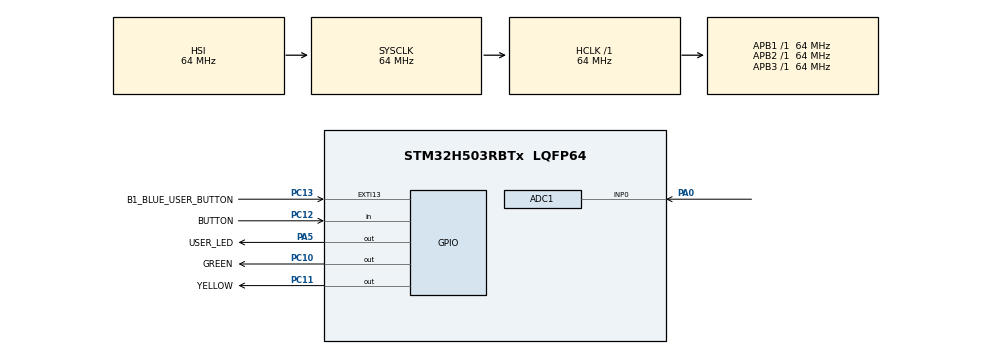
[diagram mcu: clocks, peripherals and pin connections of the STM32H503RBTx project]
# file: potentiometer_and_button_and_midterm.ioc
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ADC1.Channel-0\#ChannelRegularConversion=ADC_CHANNEL_0
ADC1.MonitoredBy-0\#ChannelRegularConversion=__NULL
ADC1.NbrOfConversionFlag=1
ADC1.OffsetNumber-0\#ChannelRegularConversion=ADC_OFFSET_NONE
ADC1.Rank-0\#ChannelRegularConversion=1
ADC1.SamplingTime-0\#ChannelRegularConversion=ADC_SAMPLETIME_2CYCLES_5
ADC1.master=1
BOOTPATH.BootPathName=LEGACY
BOOTPATH.UserSelectedBootPath=LEGACY
Mcu.Family=STM32H5
Mcu.Name=STM32H503RBTx
Mcu.Package=LQFP64
NVIC.PriorityGroup=NVIC_PRIORITYGROUP_4
PA0.Signal=ADCx_INP0
PA3.GPIO_Label=T_VCP_RX
PA3.Signal=USART3_RX
PA4.GPIO_Label=T_VCP_TX
PA4.Signal=USART3_TX
PA5.GPIO_Label=USER_LED
PA5.Signal=GPIO_Output
PC10.GPIO_Label=GREEN
PC10.Signal=GPIO_Output
PC11.GPIO_Label=YELLOW
PC11.Signal=GPIO_Output
PC12.GPIO_Label=BUTTON
PC12.Signal=GPIO_Input
PC13.GPIO_Label=B1_BLUE_USER_BUTTON
PC13.Signal=GPXTI13
ProjectManager.HeapSize=0x200
ProjectManager.StackSize=0x400
ProjectManager.TargetToolchain=STM32CubeIDE
RCC.ADCFreq_Value=64000000
RCC.AHBFreq_Value=64000000
RCC.APB1Freq_Value=64000000
RCC.APB1TimFreq_Value=64000000
RCC.APB2Freq_Value=64000000
RCC.APB2TimFreq_Value=64000000
RCC.APB3Freq_Value=64000000
RCC.CSI_VALUE=4000000
RCC.CortexFreq_Value=64000000
RCC.EPOD_VALUE=4000000
RCC.HCLKFreq_Value=64000000
RCC.HSE_VALUE=24000000
RCC.HSI48_VALUE=48000000
RCC.HSIDiv=RCC_HSI_DIV1
RCC.HSI_VALUE=64000000
RCC.LSE_VALUE=32768
RCC.LSIRC_VALUE=32000
RCC.PLLN=32
RCC.SYSCLKFreq_VALUE=64000000
RCC.USBFreq_Value=48000000
RCC.VCOOutputFreq_Value=128000000
SH.ADCx_INP0.0=ADC1_INP0,IN0-Single-Ended
VP_BOOTPATH_VS_BOOTPATH.Mode=BP_Activate
VP_CORTEX_M33_NS_VS_Hclk.Mode=Hclk_Mode
VP_MEMORYMAP_VS_MEMORYMAP.Mode=CurAppReg
VP_PWR_VS_DBSignals.Mode=DisableDeadBatterySignals
VP_PWR_VS_LPOM.Mode=PowerOptimisation
VP_PWR_VS_SECSignals.Mode=Security/Privilege
board=NUCLEO-H503RB

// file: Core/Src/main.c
/* USER CODE BEGIN Header */
/**
  ******************************************************************************
  * @file           : main.c
  * @brief          : Main program body
  ******************************************************************************
  * @attention
  *
  * Copyright (c) 2026 STMicroelectronics.
  * All rights reserved.
  *
  * This software is licensed under terms that can be found in the LICENSE file
  * in the root directory of this software component.
  * If no LICENSE file comes with this software, it is provided AS-IS.
  *
  ******************************************************************************
  */
/* USER CODE END Header */
#include "main.h"

ADC_HandleTypeDef hadc1;

/* USER CODE BEGIN PV */
uint16_t pot = 0;
uint8_t state = 0;
uint8_t prev_butt = GPIO_PIN_SET;
uint32_t green_tick = 0;
uint32_t green_int = 0;
uint32_t green_off = 500;
uint8_t green_state = 0;

/* USER CODE END PV */

void SystemClock_Config(void);
static void MX_GPIO_Init(void);
static void MX_ADC1_Init(void);

int main(void)
{

  /* MCU Configuration--------------------------------------------------------*/

  /* Reset of all peripherals, Initializes the Flash interface and the Systick. */
  HAL_Init();

  /* Configure the system clock */
  SystemClock_Config();

  /* Initialize all configured peripherals */
  MX_GPIO_Init();
  MX_ADC1_Init();
  /* USER CODE BEGIN 2 */
  ADC_ChannelConfTypeDef sConfig = {0};
  sConfig.Rank         = ADC_REGULAR_RANK_1;
  sConfig.SamplingTime = ADC_SAMPLETIME_2CYCLES_5;
  sConfig.SingleDiff   = ADC_SINGLE_ENDED;
  sConfig.OffsetNumber = ADC_OFFSET_NONE;
  sConfig.Offset       = 0;
  /* USER CODE END 2 */

  /* Infinite loop */
  /* USER CODE BEGIN WHILE */

  while (1)
  {

	  //This section is needed for reading from the analog pin. Essentially this gets the value of the voltage from that pin every time the while loop cycles.//
	    sConfig.Channel = ADC_CHANNEL_0;
	    HAL_ADC_ConfigChannel(&hadc1, &sConfig);
	    HAL_ADC_Start(&hadc1);
	    HAL_ADC_PollForConversion(&hadc1, HAL_MAX_DELAY);
	    pot = HAL_ADC_GetValue(&hadc1);
	    HAL_ADC_Stop(&hadc1);
	    ///////////////////////////////////////////////////////////////////////////////
	    uint8_t curr_butt = HAL_GPIO_ReadPin(BUTTON_GPIO_Port, BUTTON_Pin);  // Gets the current value of the button, High is no press because of the pull-up resistor.

////	    if (curr_butt == GPIO_PIN_RESET)
////	    {
////	    	HAL_GPIO_WritePin(GPIOC, YELLOW_Pin, GPIO_PIN_RESET);
////
////	    }
////	    else if (curr_butt == GPIO_PIN_SET )
////	    {
////	    	HAL_GPIO_WritePin(GPIOC, YELLOW_Pin, GPIO_PIN_SET);
////	    }
//	    if (pot <= 2047 && curr_butt == GPIO_PIN_SET)
//	    {
//	    	HAL_GPIO_WritePin(GPIOC, GREEN_Pin, GPIO_PIN_RESET);
//	    }
//		else if (pot <= 2047 && curr_butt == GPIO_PIN_RESET)
//		{
//	    	HAL_GPIO_WritePin(GPIOC, GREEN_Pin, GPIO_PIN_SET);
//		}
//	    if (pot > 2047 && curr_butt == GPIO_PIN_SET)
//	    {
//	    	HAL_GPIO_WritePin(GPIOC, GREEN_Pin, GPIO_PIN_SET);
//	    }
//		else if (pot > 2047 && curr_butt == GPIO_PIN_RESET)
//		{
//	    	HAL_GPIO_WritePin(GPIOC, GREEN_Pin, GPIO_PIN_RESET);
//
//		}
//
//
//	    HAL_Delay(50);

	 /********************************************************************************/
	    //Mid-term
		  if (curr_butt == GPIO_PIN_RESET && prev_butt == GPIO_PIN_SET)  // if the button has gone from released, to pressed, then the sequence can start. This is so that holding the button wont restart the sequence over and over. it only looks for that one change.
			  /*Start sequence on button release */
	//      if (curr_butt == GPIO_PIN_SET && prev_butt == GPIO_PIN_RESET && state == 0)
		  {
			  state = state + 1;
			  HAL_Delay(20);

		  }
		  if (state >= 3)
		  {
			  state = 0;
		  }
		  prev_butt = curr_butt;
		if (pot <= 2047 && state == 0)
		{
			HAL_GPIO_WritePin(GPIOC, GREEN_Pin, GPIO_PIN_RESET);
		}
		if (pot > 2047 && state == 0)
		{
			HAL_GPIO_WritePin(GPIOC, GREEN_Pin, GPIO_PIN_SET);
		}

		green_int = pot*900/4065 + 100; // normalizes the 12 bit number to a scale from 100 to 1000

	   if (HAL_GetTick() - green_tick >= green_int && state == 1)
	    {
		   green_tick = HAL_GetTick();
		   HAL_GPIO_TogglePin(GPIOC, GREEN_Pin);
	    }
	   if (HAL_GetTick() - green_tick >= green_int && state == 2 && green_state == 0)
	    {

		   green_tick = HAL_GetTick();
		   HAL_GPIO_WritePin(GPIOC, GREEN_Pin, GPIO_PIN_RESET);
		   green_state = 1;
	    }
	   if (HAL_GetTick() - green_tick >= green_off && state == 2 && green_state == 1)
	   	    {

	   		   green_tick = HAL_GetTick();
	   		   HAL_GPIO_WritePin(GPIOC, GREEN_Pin, GPIO_PIN_SET);
	   		   green_state = 0;
	   	    }

    /* USER CODE END WHILE */

  }
}

void SystemClock_Config(void)
{
  RCC_OscInitTypeDef RCC_OscInitStruct = {0};
  RCC_ClkInitTypeDef RCC_ClkInitStruct = {0};

  /** Configure the main internal regulator output voltage
  */
  __HAL_PWR_VOLTAGESCALING_CONFIG(PWR_REGULATOR_VOLTAGE_SCALE3);

  while(!__HAL_PWR_GET_FLAG(PWR_FLAG_VOSRDY)) {}

  /** Initializes the RCC Oscillators according to the specified parameters
  * in the RCC_OscInitTypeDef structure.
  */
  RCC_OscInitStruct.OscillatorType = RCC_OSCILLATORTYPE_HSI;
  RCC_OscInitStruct.HSIState = RCC_HSI_ON;
  RCC_OscInitStruct.HSIDiv = RCC_HSI_DIV1;
  RCC_OscInitStruct.HSICalibrationValue = RCC_HSICALIBRATION_DEFAULT;
  RCC_OscInitStruct.PLL.PLLState = RCC_PLL_NONE;
  if (HAL_RCC_OscConfig(&RCC_OscInitStruct) != HAL_OK)
  {
    Error_Handler();
  }

  /** Initializes the CPU, AHB and APB buses clocks
  */
  RCC_ClkInitStruct.ClockType = RCC_CLOCKTYPE_HCLK|RCC_CLOCKTYPE_SYSCLK
                              |RCC_CLOCKTYPE_PCLK1|RCC_CLOCKTYPE_PCLK2
                              |RCC_CLOCKTYPE_PCLK3;
  RCC_ClkInitStruct.SYSCLKSource = RCC_SYSCLKSOURCE_HSI;
  RCC_ClkInitStruct.AHBCLKDivider = RCC_SYSCLK_DIV1;
  RCC_ClkInitStruct.APB1CLKDivider = RCC_HCLK_DIV1;
  RCC_ClkInitStruct.APB2CLKDivider = RCC_HCLK_DIV1;
  RCC_ClkInitStruct.APB3CLKDivider = RCC_HCLK_DIV1;

  if (HAL_RCC_ClockConfig(&RCC_ClkInitStruct, FLASH_LATENCY_3) != HAL_OK)
  {
    Error_Handler();
  }

  /** Configure the programming delay
  */
  __HAL_FLASH_SET_PROGRAM_DELAY(FLASH_PROGRAMMING_DELAY_1);
}

static void MX_ADC1_Init(void)
{

  ADC_ChannelConfTypeDef sConfig = {0};

  /** Common config
  */
  hadc1.Instance = ADC1;
  hadc1.Init.ClockPrescaler = ADC_CLOCK_ASYNC_DIV2;
  hadc1.Init.Resolution = ADC_RESOLUTION_12B;
  hadc1.Init.DataAlign = ADC_DATAALIGN_RIGHT;
  hadc1.Init.ScanConvMode = ADC_SCAN_DISABLE;
  hadc1.Init.EOCSelection = ADC_EOC_SINGLE_CONV;
  hadc1.Init.LowPowerAutoWait = DISABLE;
  hadc1.Init.ContinuousConvMode = DISABLE;
  hadc1.Init.NbrOfConversion = 1;
  hadc1.Init.DiscontinuousConvMode = DISABLE;
  hadc1.Init.ExternalTrigConv = ADC_SOFTWARE_START;
  hadc1.Init.ExternalTrigConvEdge = ADC_EXTERNALTRIGCONVEDGE_NONE;
  hadc1.Init.DMAContinuousRequests = DISABLE;
  hadc1.Init.SamplingMode = ADC_SAMPLING_MODE_NORMAL;
  hadc1.Init.Overrun = ADC_OVR_DATA_PRESERVED;
  hadc1.Init.OversamplingMode = DISABLE;
  if (HAL_ADC_Init(&hadc1) != HAL_OK)
  {
    Error_Handler();
  }

  /** Configure Regular Channel
  */
  sConfig.Channel = ADC_CHANNEL_0;
  sConfig.Rank = ADC_REGULAR_RANK_1;
  sConfig.SamplingTime = ADC_SAMPLETIME_2CYCLES_5;
  sConfig.SingleDiff = ADC_SINGLE_ENDED;
  sConfig.OffsetNumber = ADC_OFFSET_NONE;
  sConfig.Offset = 0;
  if (HAL_ADC_ConfigChannel(&hadc1, &sConfig) != HAL_OK)
  {
    Error_Handler();
  }

}

static void MX_GPIO_Init(void)
{
  GPIO_InitTypeDef GPIO_InitStruct = {0};

  /* GPIO Ports Clock Enable */
  __HAL_RCC_GPIOC_CLK_ENABLE();
  __HAL_RCC_GPIOA_CLK_ENABLE();

  /*Configure GPIO pin Output Level */
  HAL_GPIO_WritePin(USER_LED_GPIO_Port, USER_LED_Pin, GPIO_PIN_RESET);

  /*Configure GPIO pin Output Level */
  HAL_GPIO_WritePin(GPIOC, GREEN_Pin|YELLOW_Pin, GPIO_PIN_RESET);

  /*Configure GPIO pin : B1_BLUE_USER_BUTTON_Pin */
  GPIO_InitStruct.Pin = B1_BLUE_USER_BUTTON_Pin;
  GPIO_InitStruct.Mode = GPIO_MODE_IT_RISING;
  GPIO_InitStruct.Pull = GPIO_NOPULL;
  HAL_GPIO_Init(B1_BLUE_USER_BUTTON_GPIO_Port, &GPIO_InitStruct);

  /*Configure GPIO pins : T_VCP_RX_Pin T_VCP_TX_Pin */
  GPIO_InitStruct.Pin = T_VCP_RX_Pin|T_VCP_TX_Pin;
  GPIO_InitStruct.Mode = GPIO_MODE_AF_PP;
  GPIO_InitStruct.Pull = GPIO_NOPULL;
  GPIO_InitStruct.Speed = GPIO_SPEED_FREQ_LOW;
  GPIO_InitStruct.Alternate = GPIO_AF13_USART3;
  HAL_GPIO_Init(GPIOA, &GPIO_InitStruct);

  /*Configure GPIO pin : USER_LED_Pin */
  GPIO_InitStruct.Pin = USER_LED_Pin;
  GPIO_InitStruct.Mode = GPIO_MODE_OUTPUT_PP;
  GPIO_InitStruct.Pull = GPIO_NOPULL;
  GPIO_InitStruct.Speed = GPIO_SPEED_FREQ_LOW;
  HAL_GPIO_Init(USER_LED_GPIO_Port, &GPIO_InitStruct);

  /*Configure GPIO pins : GREEN_Pin YELLOW_Pin */
  GPIO_InitStruct.Pin = GREEN_Pin|YELLOW_Pin;
  GPIO_InitStruct.Mode = GPIO_MODE_OUTPUT_PP;
  GPIO_InitStruct.Pull = GPIO_NOPULL;
  GPIO_InitStruct.Speed = GPIO_SPEED_FREQ_LOW;
  HAL_GPIO_Init(GPIOC, &GPIO_InitStruct);

  /*Configure GPIO pin : BUTTON_Pin */
  GPIO_InitStruct.Pin = BUTTON_Pin;
  GPIO_InitStruct.Mode = GPIO_MODE_INPUT;
  GPIO_InitStruct.Pull = GPIO_NOPULL;
  HAL_GPIO_Init(BUTTON_GPIO_Port, &GPIO_InitStruct);

}

void Error_Handler(void)
{
  __disable_irq();
  while (1)
  {
  }
}
